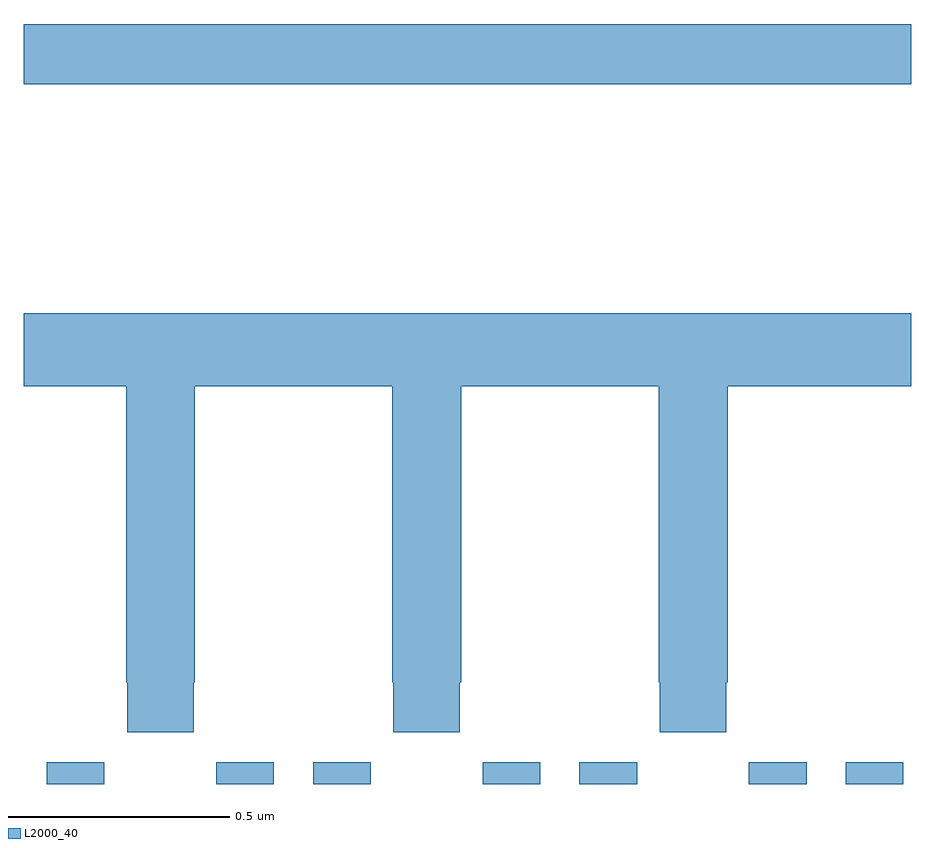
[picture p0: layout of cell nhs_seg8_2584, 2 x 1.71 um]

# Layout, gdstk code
import gdstk
lib = gdstk.Library(unit=1e-6, precision=1e-09)
def R(c, l, rs):  # rectangles x0, y0, x1, y1
    for r in rs: c.add(gdstk.rectangle(r[:2], r[2:], *l))
def P(c, l, *ps):  # polygons
    for p in ps: c.add(gdstk.Polygon(p, *l))
L2000_40 = (2000, 40)

nhs_seg8_2584 = lib.new_cell('nhs_seg8_2584')
R(nhs_seg8_2584, L2000_40, [(145.052,1152.9,145.182,1152.949), (145.434,1152.9,145.564,1152.949), (145.652,1152.9,145.782,1152.949), (146.034,1152.9,146.164,1152.949), (146.252,1152.9,146.382,1152.949), (146.634,1152.9,146.764,1152.949), (146.852,1152.9,146.982,1152.949), (145,1154.476,147,1154.612)])
P(nhs_seg8_2584, L2000_40, [(145.383,1153.129),(145.386,1153.129),(145.386,1153.796),(145.831,1153.796),(145.831,1153.129),(145.833,1153.129),(145.833,1153.017),(145.983,1153.017),(145.983,1153.129),(145.986,1153.129),(145.986,1153.796),(146.431,1153.796),(146.431,1153.129),(146.433,1153.129),(146.433,1153.017),(146.583,1153.017),(146.583,1153.129),(146.586,1153.129),(146.586,1153.796),(147,1153.796),(147,1153.96),(145,1153.96),(145,1153.796),(145.231,1153.796),(145.231,1153.129),(145.233,1153.129),(145.233,1153.017),(145.383,1153.017)])

lib.write_gds('nhs_seg8_2584.gds')
